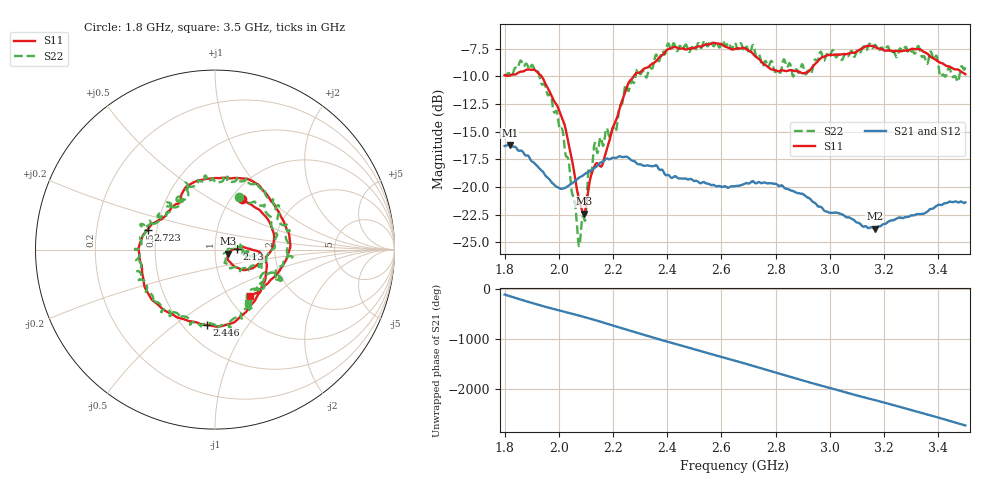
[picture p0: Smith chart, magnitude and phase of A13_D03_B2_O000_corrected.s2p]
! Created with skrf 1.9.0 (http://scikit-rf.org).
# Hz S RI R 50.0
!freq ReS11 ImS11 ReS21 ImS21 ReS12 ImS12 ReS22 ImS22
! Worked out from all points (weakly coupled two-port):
!   1601 points, 1.8 GHz to 3.5 GHz, reference 50 ohm
!   highest |S21| = -16.20 dB at 1.819 GHz (marker M1); lowest = -23.8 dB at 3.165 GHz (marker M2)
!   lowest |S11| = -22.4 dB at 2.092 GHz (marker M3), VSWR 1.16, Z = 57.8 - j2.53 ohm
!   |S11| at or under -10 dB: 1.937 GHz to 2.276 GHz (339.3 MHz wide, 16.1 % of centre)
!   |S22| runs from -25.3 to -6.7 dB; largest |S21 - S12| = 0.0027
!   S11 on the Smith chart (normalised r, x): 1.8 GHz: 1.13, +0.71; 2.13 GHz: 1.28, +0.00; 2.446 GHz: 0.65, -0.66; 2.723 GHz: 0.44, +0.12; 3.5 GHz: 1.26, -0.72
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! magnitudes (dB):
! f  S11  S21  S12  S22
! 1.8 GHz  -9.9  -16.3  -16.3  -9.8
! 1.819 GHz  -9.9  -16.2  -16.2  -9.8
! 1.903 GHz  -9.4  -17.7  -17.7  -9.0
! 1.968 GHz  -11.5  -19.4  -19.4  -11.6
! 2.015 GHz  -13.9  -20.1  -20.2  -15.0
! 2.072 GHz  -20.8  -19.2  -19.2  -25.0
! 2.084 GHz  -21.9  -19.0  -19.0  -23.4
! 2.092 GHz  -22.4  -18.9  -19.0  -22.7
! 2.13 GHz  -18.2  -18.3  -18.3  -16.2
! 2.162 GHz  -17.9  -17.7  -17.6  -16.3
! 2.26 GHz  -10.5  -17.4  -17.4  -11.2
! 2.367 GHz  -8.4  -18.3  -18.2  -8.6
! 2.446 GHz  -7.5  -19.2  -19.2  -7.2
! 2.65 GHz  -7.5  -19.9  -19.9  -7.0
! 2.723 GHz  -8.1  -19.6  -19.6  -7.7
! 2.802 GHz  -9.5  -19.7  -19.8  -9.5
! 2.934 GHz  -9.2  -21.3  -21.2  -9.6
! 3.165 GHz  -7.3  -23.8  -23.7  -7.2
! 3.217 GHz  -7.7  -23.1  -23.1  -7.4
! 3.327 GHz  -7.5  -22.4  -22.4  -7.3
! 3.468 GHz  -9.4  -21.3  -21.3  -10.3
! 3.5 GHz  -9.8  -21.4  -21.4  -9.1
